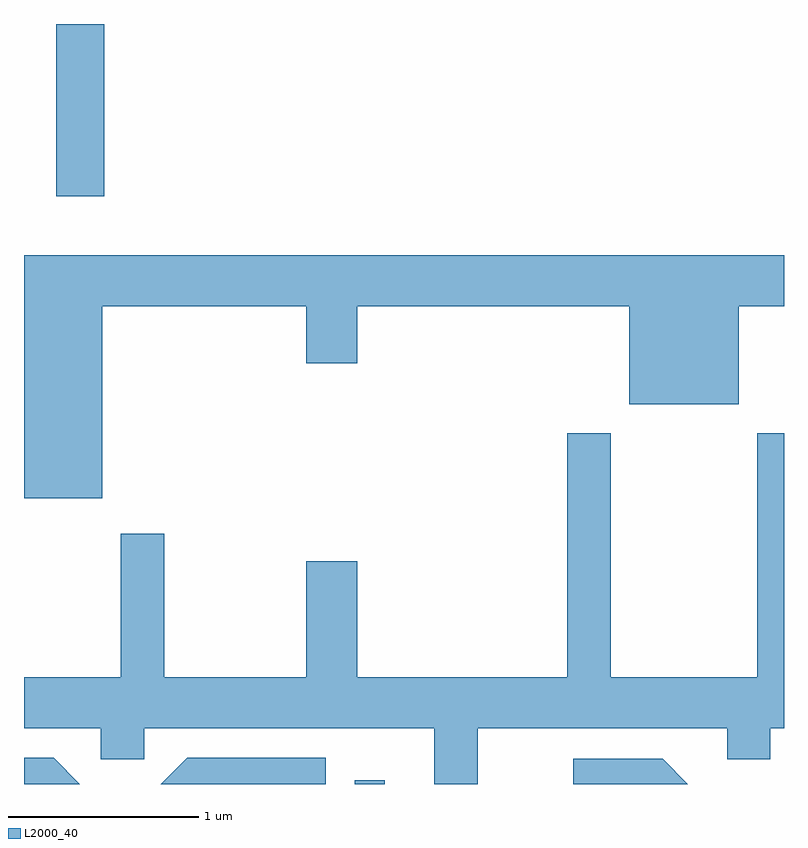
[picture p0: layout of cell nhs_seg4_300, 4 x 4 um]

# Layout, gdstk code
import gdstk
lib = gdstk.Library(unit=1e-6, precision=1e-09)
def R(c, l, rs):  # rectangles x0, y0, x1, y1
    for r in rs: c.add(gdstk.rectangle(r[:2], r[2:], *l))
def P(c, l, *ps):  # polygons
    for p in ps: c.add(gdstk.Polygon(p, *l))
L2000_40 = (2000, 40)

nhs_seg4_300 = lib.new_cell('nhs_seg4_300')
R(nhs_seg4_300, L2000_40, [(195.351,1309.982,195.509,1310.003), (193.781,1313.076,194.034,1313.982)])
P(nhs_seg4_300, L2000_40, [(194.024,1312.496),(195.096,1312.496),(195.096,1312.196),(195.364,1312.196),(195.364,1312.496),(196.796,1312.496),(196.796,1311.981),(197.374,1311.981),(197.374,1312.496),(197.611,1312.496),(197.611,1312.764),(193.611,1312.764),(193.611,1311.486),(194.024,1311.486)],
  [(195.999,1310.276),(197.311,1310.276),(197.311,1310.111),(197.539,1310.111),(197.539,1310.276),(197.611,1310.276),(197.611,1311.829),(197.471,1311.829),(197.471,1310.544),(196.699,1310.544),(196.699,1311.829),(196.471,1311.829),(196.471,1310.544),(195.364,1310.544),(195.364,1311.154),(195.096,1311.154),(195.096,1310.544),(194.349,1310.544),(194.349,1311.299),(194.121,1311.299),(194.121,1310.544),(193.611,1310.544),(193.611,1310.276),(194.016,1310.276),(194.016,1310.111),(194.244,1310.111),(194.244,1310.276),(195.771,1310.276),(195.771,1309.982),(195.999,1309.982)],
  [(195.199,1310.119),(194.469,1310.119),(194.332,1309.982),(195.199,1309.982)],
  [(193.767,1310.119),(193.611,1310.119),(193.611,1309.982),(193.904,1309.982)],
  [(196.972,1310.114),(196.503,1310.114),(196.503,1309.982),(197.104,1309.982)])

lib.write_gds('nhs_seg4_300.gds')
